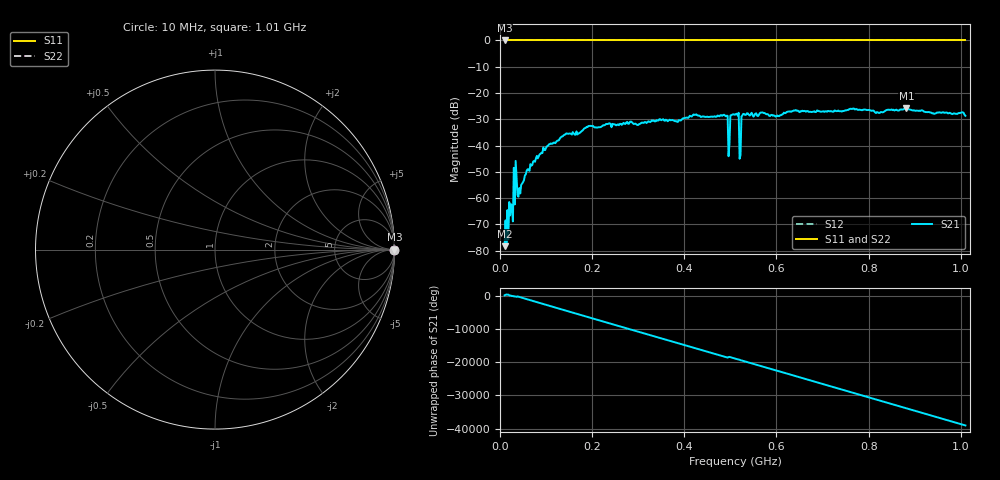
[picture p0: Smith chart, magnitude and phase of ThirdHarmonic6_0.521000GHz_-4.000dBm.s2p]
! 8/15/2025 4:02:17 PM
! C:\ANRITSUVNA\TEMP\TEMP.S2P
! CHANNEL.1
! TR.MEASUREMENT
! RAW.DATA
! RF.CORRECTION.OFF
! AVERAGING.OFF
! IF.BANDWIDTH: 5KHZ
! SWEEPTYPE:  FREQ.SWEEP(Linear)
! Reference Plane Port Info
! PORT:  PORT1  PORT2
! DISTANCE:  0  m  0  m
! TIME:  0  s  0  s
! PHASE.OFFSET:  0  deg.  0  deg.
! LOSS:  0  dB  0  dB
! REF.LOSS:  0  dB  0  dB
! REF.FREQ:  0  Hz  0  Hz
! Power Info
! POWER:  -20  dBm  -20  dBm
! EFF.POWER:  -20  dBm  -20  dBm
! SOURCE.ATTEN:  0  dB  0  dB
! TEST.ATTEN:  0  dB  0  dB
# GHZ S RI R 50.0
! FREQ.GHZ  S11RE  S11IM  S21RE  S21IM  S12RE  S12IM  S22RE  S22IM
!; PortSelection: Port_12
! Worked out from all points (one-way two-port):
!   501 points, 10 MHz to 1.01 GHz, reference 50 ohm
!   highest |S21| = -25.89 dB at 882 MHz (marker M1); lowest = -78.3 dB at 10 MHz (marker M2)
!   lowest |S11| = 0.0 dB at 10 MHz (marker M3)
!   |S11| at or under -10 dB: nowhere
!   |S22| runs from 0.0 to 0.0 dB; largest |S21 - S12| = 1
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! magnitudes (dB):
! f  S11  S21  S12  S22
! 10 MHz  0.0  -78.3  0.0  0.0
! 28 MHz  0.0  -68.9  0.0  0.0
! 34 MHz  0.0  -45.8  0.0  0.0
! 42 MHz  0.0  -56.2  0.0  0.0
! 58 MHz  0.0  -49.5  0.0  0.0
! 98 MHz  0.0  -41.7  0.0  0.0
! 178 MHz  0.0  -34.4  0.0  0.0
! 344 MHz  0.0  -30.5  0.0  0.0
! 488 MHz  0.0  -28.5  0.0  0.0
! 494 MHz  0.0  -28.7  0.0  0.0
! 500 MHz  0.0  -28.5  0.0  0.0
! 504 MHz  0.0  -28.2  0.0  0.0
! 510 MHz  0.0  -28.3  0.0  0.0
! 514 MHz  0.0  -27.9  0.0  0.0
! 518 MHz  0.0  -27.5  0.0  0.0
! 524 MHz  0.0  -29.0  0.0  0.0
! 528 MHz  0.0  -27.9  0.0  0.0
! 532 MHz  0.0  -28.3  0.0  0.0
! 678 MHz  0.0  -27.2  0.0  0.0
! 844 MHz  0.0  -26.4  0.0  0.0
! 882 MHz  0.0  -25.9  0.0  0.0
! 1.01 GHz  0.0  -28.7  0.0  0.0
